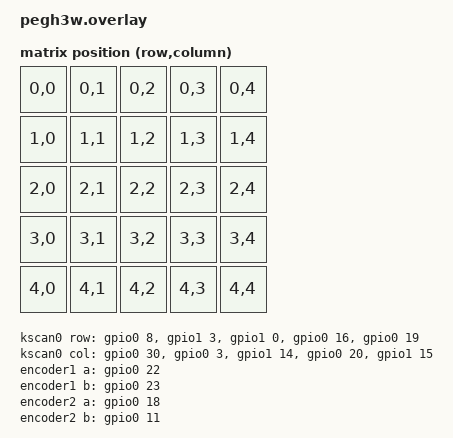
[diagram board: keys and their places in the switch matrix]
#include <dt-bindings/zmk/matrix_transform.h>
#include "layouts.dtsi"

/ {
    chosen {
        zmk,physical-layout = &physical_layout0;
        zmk,kscan = &kscan0;
zmk,battery = &non_lipo_battery;
    };

    default_transform: keymap_transform_0 {
        compatible = "zmk,matrix-transform";
        columns = <5>;
        rows = <5>;
        map = <
            RC(0,0) RC(0,1) RC(0,2) RC(0,3) RC(0,4)
            RC(1,0) RC(1,1) RC(1,2) RC(1,3) RC(1,4)
            RC(2,0) RC(2,1) RC(2,2) RC(2,3) RC(2,4)
            RC(3,0) RC(3,1) RC(3,2) RC(3,3) RC(3,4)
            RC(4,0) RC(4,1) RC(4,2) RC(4,3) RC(4,4)
        >;
    };

  kscan0: kscan {
        compatible = "zmk,kscan-gpio-matrix";

        col-gpios =
            <&gpio0 30 (GPIO_ACTIVE_LOW | GPIO_PULL_UP)>,
            <&gpio0 3 (GPIO_ACTIVE_LOW | GPIO_PULL_UP)>,
            <&gpio1 14 (GPIO_ACTIVE_LOW | GPIO_PULL_UP)>,
            <&gpio0 20 (GPIO_ACTIVE_LOW | GPIO_PULL_UP)>,
            <&gpio1 15 (GPIO_ACTIVE_LOW | GPIO_PULL_UP)>;

        row-gpios =
            <&gpio0 8 (GPIO_ACTIVE_LOW)>,
            <&gpio1 3 (GPIO_ACTIVE_LOW)>,
            <&gpio1 0 (GPIO_ACTIVE_LOW)>,
            <&gpio0 16 (GPIO_ACTIVE_LOW)>,
            <&gpio0 19 (GPIO_ACTIVE_LOW)>;
       wakeup-source;
    };

    encoder1: encoder1 {
        compatible = "alps,ec11";
        a-gpios = <&gpio0 22 (GPIO_ACTIVE_LOW | GPIO_PULL_UP)>;
        b-gpios = <&gpio0 23 (GPIO_ACTIVE_LOW | GPIO_PULL_UP)>;

        steps = <24>;
        status = "okay";
    };

    encoder2: encoder2 {
        compatible = "alps,ec11";
        a-gpios = <&gpio0 18 (GPIO_ACTIVE_LOW | GPIO_PULL_UP)>;
        b-gpios = <&gpio0 11 (GPIO_ACTIVE_LOW | GPIO_PULL_UP)>;

        steps = <24>;
        status = "okay";
    };
    encoder3: encoder3 {
        compatible = "alps,ec11";
        a-gpios = <&gpio0 0 (GPIO_ACTIVE_LOW | GPIO_PULL_UP)>;
        b-gpios = <&gpio0 5 (GPIO_ACTIVE_LOW | GPIO_PULL_UP)>;
        steps = <24>;
        status = "okay";
    };


    sensors: sensors {
        compatible = "zmk,keymap-sensors";
        sensors = <&encoder1>, <&encoder2>, <&encoder3>;
        triggers-per-rotation = <6>;
    };

    non_lipo_battery: non_lipo_battery {
        compatible = "zmk,non-lipo-battery";
        io-channels = <&adc 7>;
    };
};



&physical_layout0 {
    kscan = <&kscan0>;
    transform = <&default_transform>;
};
